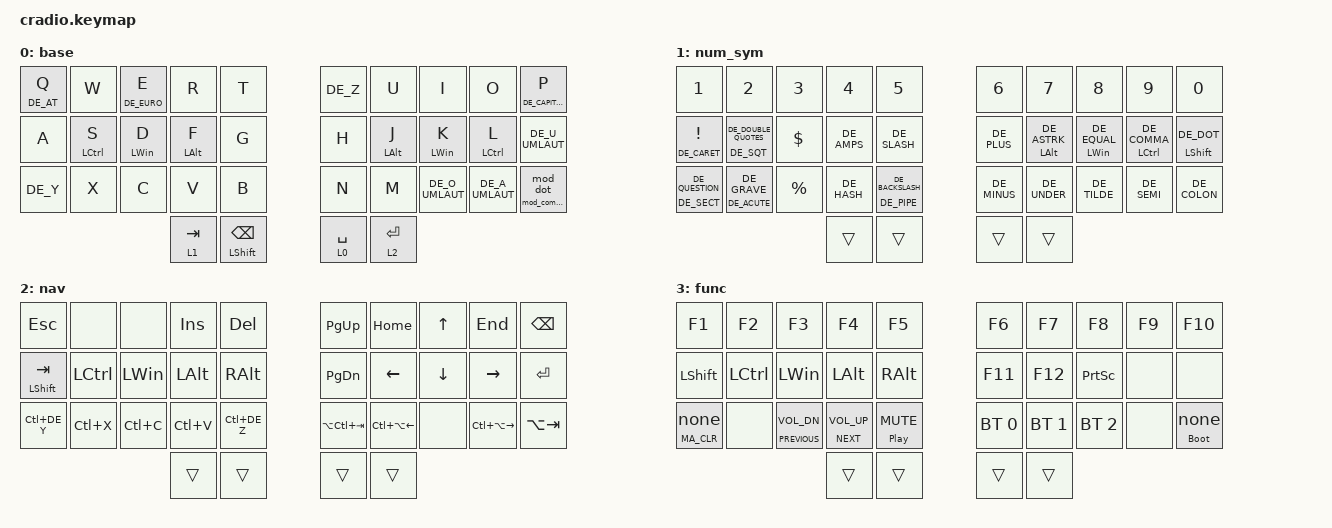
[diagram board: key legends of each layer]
// Copyright (c) 2022 The ZMK Contributors
// SPDX-License-Identifier: MIT

#include "keys_de.h"
#include <behaviors.dtsi>
#include <dt-bindings/zmk/bt.h>
#include <dt-bindings/zmk/keys.h>

&mt {
    tapping-term-ms = <200>;
    quick-tap-ms = <200>;
    require-prior-idle-ms = <150>;
    flavor = "tap-preferred";
};

/ {
    behaviors {
        ht: hold_tap {
            compatible = "zmk,behavior-hold-tap";
            #binding-cells = <2>;
            flavor = "tap-preferred";
            tapping-term-ms = <300>;
            quick-tap-ms = <300>;
            require-prior-idle-ms = <200>;
            bindings = <&kp>, <&kp>;
        };

        moto: mo_to_layer {
            compatible = "zmk,behavior-hold-tap";
            label = "MO_TO_LAYER";
            bindings = <&mo>, <&to>;

            #binding-cells = <2>;
            tapping-term-ms = <200>;
            quick-tap-ms = <200>;
            require-prior-idle-ms = <150>;
            flavor = "hold-preferred";
        };

        tokp: to_kp_layer {
            compatible = "zmk,behavior-hold-tap";
            label = "TO_KP_LAYER";
            bindings = <&to>, <&kp>;

            #binding-cells = <2>;
            tapping-term-ms = <200>;
            quick-tap-ms = <200>;
            require-prior-idle-ms = <150>;
            flavor = "tap-preferred";
        };

        mokp: mokp {
            compatible = "zmk,behavior-hold-tap";
            label = "MOKP";
            bindings = <&mo>, <&kp>;

            #binding-cells = <2>;
            tapping-term-ms = <200>;
            quick-tap-ms = <200>;
            require-prior-idle-ms = <150>;
            flavor = "hold-preferred";
        };

        mod_comma: mod_comma {
            compatible = "zmk,behavior-mod-morph";
            label = "MOD_COMMA";
            bindings = <&kp DE_COMMA>, <&kp DE_SEMICOLON>;

            #binding-cells = <0>;
            mods = <(MOD_LSFT|MOD_RSFT)>;
        };

        mod_dot: mod_dot {
            compatible = "zmk,behavior-mod-morph";
            label = "MOD_DOT";
            bindings = <&kp DE_DOT>, <&kp DE_COLON>;

            #binding-cells = <0>;
            mods = <(MOD_LSFT|MOD_RSFT)>;
        };

        ht_comma_dot: ht_comma_dot {
            compatible = "zmk,behavior-hold-tap";
            label = "HT_COMMA_DOT";
            bindings = <&mod_comma>, <&mod_dot>;

            #binding-cells = <2>;
            tapping-term-ms = <200>;
            quick-tap-ms = <200>;
            require-prior-idle-ms = <150>;
            flavor = "tap-preferred";
        };

        safe_bt_clr: safe_bt_clr {
            compatible = "zmk,behavior-hold-tap";
            #binding-cells = <2>;
            flavor = "tap-preferred";
            tapping-term-ms = <400>;
            quick-tap-ms = <400>;
            require-prior-idle-ms = <400>;
            bindings = <&MA_CLR>, <&none>;

            label = "SAFE_BT_CLR";
        };

        safe_boot: safe_boot {
            compatible = "zmk,behavior-hold-tap";
            #binding-cells = <2>;
            flavor = "tap-preferred";
            tapping-term-ms = <400>;
            quick-tap-ms = <400>;
            require-prior-idle-ms = <400>;
            bindings = <&bootloader>, <&none>;

            label = "SAFE_BOOT";
        };

        rp_tp: rp_tp {
            compatible = "zmk,behavior-hold-tap";
            #binding-cells = <2>;
            flavor = "hold-preferred";
            tapping-term-ms = <200>;
            quick-tap-ms = <200>;
            require-prior-idle-ms = <150>;
            bindings = <&kp>, <&key_repeat>;

            label = "RP_TP";
        };

        kptp_htp: kptp_htp {
            compatible = "zmk,behavior-hold-tap";
            #binding-cells = <2>;
            flavor = "hold-preferred";
            tapping-term-ms = <200>;
            quick-tap-ms = <200>;
            require-prior-idle-ms = <150>;
            bindings = <&kp>, <&kp>;

            label = "KPTP_HTP";
        };

        tdmokp: tdmokp {
            compatible = "zmk,behavior-tap-dance";
            label = "TDMOKP";
            #binding-cells = <0>;
            bindings = <&mokp 1 TAB>, <&kp ESCAPE>;

            tapping-term-ms = <150>;
        };
    };

    conditional_layers { compatible = "zmk,conditional-layers"; };

    combos {
        compatible = "zmk,combos";

        CO_LPB {
            bindings = <&kp DE_LPAR>;
            key-positions = <2 3>;
            layers = <0 1>;
            timeout-ms = <40>;
            require-prior-idle-ms = <150>;
        };

        CO_RPB {
            bindings = <&kp DE_RPAR>;
            key-positions = <6 7>;
            layers = <0 1>;
            timeout-ms = <40>;
            require-prior-idle-ms = <150>;
        };

        CO_LSB {
            bindings = <&kp DE_LBKT>;
            key-positions = <12 13>;
            layers = <0 1>;
            timeout-ms = <40>;
            require-prior-idle-ms = <150>;
        };

        CO_RSB {
            bindings = <&kp DE_RBKT>;
            key-positions = <16 17>;
            layers = <0 1>;
            timeout-ms = <40>;
            require-prior-idle-ms = <150>;
        };

        CO_LCB {
            bindings = <&kp DE_LEFT_BRACE>;
            key-positions = <22 23>;
            layers = <0 1>;
            timeout-ms = <80>;
            require-prior-idle-ms = <100>;
        };

        CO_RCB {
            bindings = <&kp DE_RIGHT_BRACE>;
            key-positions = <26 27>;
            layers = <0 1>;
            timeout-ms = <40>;
            require-prior-idle-ms = <150>;
        };

        CO_LLT {
            bindings = <&kp DE_LESS_THAN>;
            key-positions = <3 4>;
            layers = <0 1>;
            timeout-ms = <40>;
            require-prior-idle-ms = <150>;
        };

        CO_RGT {
            bindings = <&kp DE_GREATER_THAN>;
            key-positions = <5 6>;
            layers = <0 1>;
            timeout-ms = <40>;
            require-prior-idle-ms = <150>;
        };

        CO_MO_LAY_3 {
            bindings = <&mokp 3 ESCAPE>;
            key-positions = <30 33>;
            timeout-ms = <120>;
            require-prior-idle-ms = <100>;
            layers = <0 2 3 1>;
        };

        CO_CMD_BSP {
            bindings = <&kp LC(BACKSPACE)>;
            key-positions = <31 32>;
            timeout-ms = <120>;
            require-prior-idle-ms = <100>;
            layers = <0 2 3 1>;
        };

        CO_LAY_1 {
            bindings = <&to 1>;
            key-positions = <30 31>;
            timeout-ms = <120>;
            require-prior-idle-ms = <100>;
            layers = <0 2 3 1>;
        };

        CO_LAY_2 {
            bindings = <&to 2>;
            key-positions = <32 33>;
            timeout-ms = <120>;
            require-prior-idle-ms = <100>;
            layers = <0 2 3 1>;
        };

        CO_LAY_3 {
            bindings = <&to 3>;
            key-positions = <32 33 31 30>;
            timeout-ms = <120>;
            require-prior-idle-ms = <100>;
            layers = <0 2 3 1>;
        };
    };

    macros {
        MA_CLR: MA_CLR_0 {
            compatible = "zmk,behavior-macro";
            #binding-cells = <0>;
            bindings = <&bt BT_CLR>;
            label = "MA_CLR_0";
        };
    };

    keymap {
        compatible = "zmk,keymap";

        base {
            bindings = <
&ht DE_AT Q  &kp W        &ht DE_EURO E  &kp R        &kp T                         &kp DE_Z       &kp U          &kp I            &kp O            &ht DE_CAPITAL_SHARP_S P
&kp A        &mt LCTRL S  &mt LWIN D     &mt LALT F   &kp G                         &kp H          &mt LALT J     &mt LWIN K       &mt LCTRL L      &kp DE_U_UMLAUT
&kp DE_Y     &kp X        &kp C          &kp V        &kp B                         &kp N          &kp M          &kp DE_O_UMLAUT  &kp DE_A_UMLAUT  &ht_comma_dot 0 0
                                         &mokp 1 TAB  &kptp_htp LSHIFT BACKSPACE    &tokp 0 SPACE  &mokp 2 ENTER
            >;
        };

        num_sym {
            bindings = <
&kp N1                   &kp N2                       &kp N3     &kp N4       &kp N5                      &kp N6        &kp N7                 &kp N8             &kp N9              &kp N0
&ht DE_CARET EXCL        &ht DE_SQT DE_DOUBLE_QUOTES  &kp DLLR   &kp DE_AMPS  &kp DE_SLASH                &kp DE_PLUS   &mt LEFT_ALT DE_ASTRK  &mt LWIN DE_EQUAL  &mt LCTRL DE_COMMA  &mt LEFT_SHIFT DE_DOT
&ht DE_SECT DE_QUESTION  &ht DE_ACUTE DE_GRAVE        &kp PRCNT  &kp DE_HASH  &ht DE_PIPE DE_BACKSLASH    &kp DE_MINUS  &kp DE_UNDER           &kp DE_TILDE       &kp DE_SEMI         &kp DE_COLON
                                                                 &trans       &trans                      &trans        &trans
            >;
        };

        nav {
            bindings = <
&kp ESC             &none      &none      &kp INS    &kp DEL         &kp PG_UP        &kp HOME          &kp UP    &kp END            &kp BACKSPACE
&mt LEFT_SHIFT TAB  &kp LCTRL  &kp LWIN   &kp LALT   &kp RALT        &kp PG_DN        &kp LEFT          &kp DOWN  &kp RIGHT          &kp RET
&kp LC(DE_Y)        &kp LC(X)  &kp LC(C)  &kp LC(V)  &kp LC(DE_Z)    &kp LA(LC(TAB))  &kp LC(LA(LEFT))  &none     &kp LC(LA(RIGHT))  &kp LA(TAB)
                                          &trans     &trans          &trans           &trans
            >;
        };

        func {
            bindings = <
&kp F1            &kp F2     &kp F3                   &kp F4               &kp F5                     &kp F6        &kp F7        &kp F8           &kp F9  &kp F10
&kp LEFT_SHIFT    &kp LCTRL  &kp LWIN                 &kp LALT             &kp RALT                   &kp F11       &kp F12       &kp PRINTSCREEN  &none   &none
&safe_bt_clr 0 0  &none      &ht C_PREVIOUS C_VOL_DN  &ht C_NEXT C_VOL_UP  &ht C_PLAY_PAUSE C_MUTE    &bt BT_SEL 0  &bt BT_SEL 1  &bt BT_SEL 2     &none   &safe_boot 0 0
                                                      &trans               &trans                     &trans        &trans
            >;
        };
    };
};
